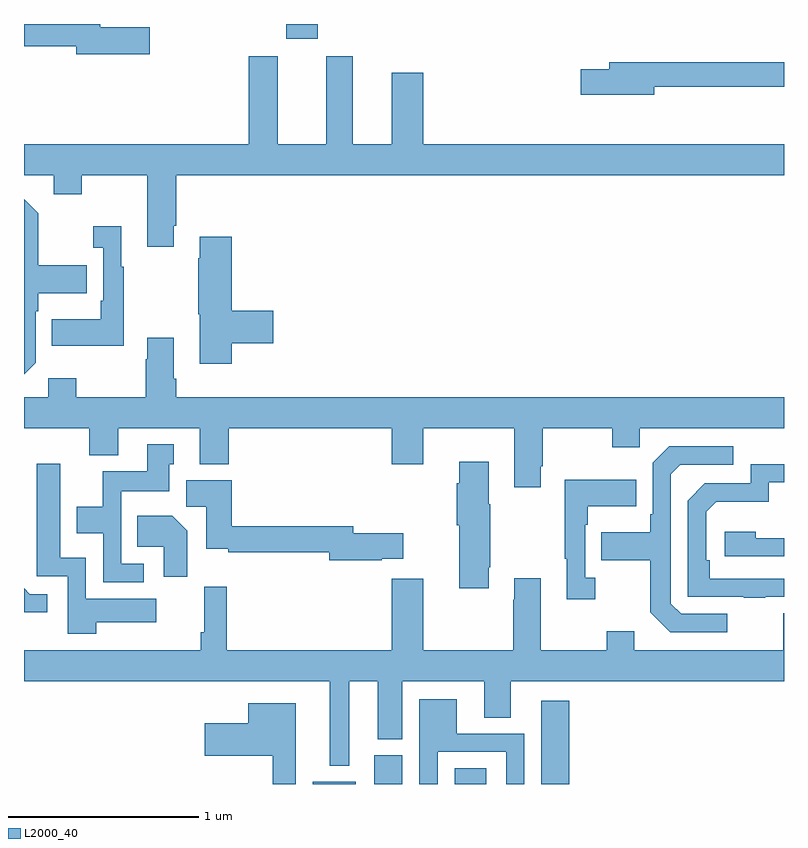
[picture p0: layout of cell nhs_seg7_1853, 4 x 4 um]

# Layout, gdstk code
import gdstk
lib = gdstk.Library(unit=1e-6, precision=1e-09)
def R(c, l, rs):  # rectangles x0, y0, x1, y1
    for r in rs: c.add(gdstk.rectangle(r[:2], r[2:], *l))
def P(c, l, *ps):  # polygons
    for p in ps: c.add(gdstk.Polygon(p, *l))
L2000_40 = (2000, 40)

nhs_seg7_1853 = lib.new_cell('nhs_seg7_1853')
R(nhs_seg7_1853, L2000_40, [(236.519,1076,236.746,1076.011), (236.843,1076,236.992,1076.151), (237.266,1076,237.433,1076.084), (237.722,1076,237.869,1076.437), (236.381,1079.922,236.545,1080)])
P(nhs_seg7_1853, L2000_40, [(235.663,1079.984),(235.402,1079.984),(235.402,1080),(235,1080),(235,1079.884),(235.274,1079.884),(235.274,1079.842),(235.663,1079.842)],
  [(235.789,1078.939),(235.802,1078.939),(235.802,1079.204),(239,1079.204),(239,1079.368),(237.1,1079.368),(237.1,1079.743),(236.936,1079.743),(236.936,1079.368),(236.731,1079.368),(236.731,1079.83),(236.591,1079.83),(236.591,1079.368),(236.335,1079.368),(236.335,1079.83),(236.183,1079.83),(236.183,1079.368),(235,1079.368),(235,1079.204),(235.157,1079.204),(235.157,1079.105),(235.305,1079.105),(235.305,1079.204),(235.649,1079.204),(235.649,1078.827),(235.789,1078.827)],
  [(238.318,1079.67),(239,1079.67),(239,1079.798),(238.079,1079.798),(238.079,1079.762),(237.93,1079.762),(237.93,1079.627),(238.318,1079.627)],
  [(235.062,1078.218),(235.062,1078.487),(235.075,1078.487),(235.075,1078.583),(235.331,1078.583),(235.331,1078.731),(235.075,1078.731),(235.075,1079.003),(235,1079.078),(235,1078.156)],
  [(235.525,1078.723),(235.513,1078.723),(235.513,1078.936),(235.365,1078.936),(235.365,1078.823),(235.416,1078.823),(235.416,1078.543),(235.404,1078.543),(235.404,1078.447),(235.147,1078.447),(235.147,1078.307),(235.525,1078.307)],
  [(236.093,1078.319),(236.311,1078.319),(236.311,1078.49),(236.093,1078.49),(236.093,1078.879),(235.925,1078.879),(235.925,1078.766),(235.918,1078.766),(235.918,1078.473),(235.925,1078.473),(235.925,1078.212),(236.093,1078.212)],
  [(235.802,1078.132),(235.789,1078.132),(235.789,1078.348),(235.649,1078.348),(235.649,1078.235),(235.642,1078.235),(235.642,1078.036),(235.275,1078.036),(235.275,1078.135),(235.128,1078.135),(235.128,1078.036),(235,1078.036),(235,1077.872),(235.343,1077.872),(235.343,1077.731),(235.495,1077.731),(235.495,1077.872),(235.925,1077.872),(235.925,1077.683),(236.078,1077.683),(236.078,1077.872),(236.936,1077.872),(236.936,1077.684),(237.1,1077.684),(237.1,1077.872),(237.581,1077.872),(237.581,1077.561),(237.721,1077.561),(237.721,1077.673),(237.729,1077.673),(237.729,1077.872),(238.096,1077.872),(238.096,1077.773),(238.242,1077.773),(238.242,1077.872),(239,1077.872),(239,1078.036),(235.802,1078.036)],
  [(235.63,1077.159),(235.512,1077.159),(235.512,1077.542),(235.765,1077.542),(235.765,1077.684),(235.789,1077.684),(235.789,1077.787),(235.649,1077.787),(235.649,1077.646),(235.414,1077.646),(235.414,1077.46),(235.277,1077.46),(235.277,1077.32),(235.416,1077.32),(235.416,1077.063),(235.63,1077.063)],
  [(238.702,1076.895),(238.458,1076.895),(238.404,1076.949),(238.404,1077.63),(238.455,1077.681),(238.732,1077.681),(238.732,1077.777),(238.395,1077.777),(238.308,1077.69),(238.308,1077.421),(238.296,1077.421),(238.296,1077.325),(238.039,1077.325),(238.039,1077.178),(238.296,1077.178),(238.296,1076.905),(238.401,1076.799),(238.702,1076.799)],
  [(237.445,1077.142),(237.453,1077.142),(237.453,1077.473),(237.445,1077.473),(237.445,1077.697),(237.29,1077.697),(237.29,1077.584),(237.278,1077.584),(237.278,1077.363),(237.29,1077.363),(237.29,1077.03),(237.445,1077.03)],
  [(235.379,1076.852),(235.696,1076.852),(235.696,1076.974),(235.326,1076.974),(235.326,1077.19),(235.192,1077.19),(235.192,1077.685),(235.067,1077.685),(235.067,1077.093),(235.23,1077.093),(235.23,1076.79),(235.379,1076.79)],
  [(238.901,1076.985),(239,1076.985),(239,1077.081),(238.61,1077.081),(238.61,1077.178),(238.59,1077.178),(238.59,1077.432),(238.643,1077.485),(238.92,1077.485),(238.92,1077.588),(239,1077.588),(239,1077.684),(238.824,1077.684),(238.824,1077.582),(238.584,1077.582),(238.494,1077.492),(238.494,1076.985),(238.789,1076.985),(238.789,1076.98),(238.901,1076.98)],
  [(238.006,1077.086),(237.954,1077.086),(237.954,1077.365),(237.967,1077.365),(237.967,1077.461),(238.223,1077.461),(238.223,1077.601),(237.846,1077.601),(237.846,1077.185),(237.857,1077.185),(237.857,1076.973),(238.006,1076.973)],
  [(236.882,1077.185),(236.995,1077.185),(236.995,1077.32),(236.734,1077.32),(236.734,1077.356),(236.093,1077.356),(236.093,1077.598),(235.853,1077.598),(235.853,1077.46),(235.958,1077.46),(235.958,1077.239),(236.074,1077.239),(236.074,1077.22),(236.606,1077.22),(236.606,1077.178),(236.882,1077.178)],
  [(235.858,1077.334),(235.78,1077.412),(235.597,1077.412),(235.597,1077.248),(235.736,1077.248),(235.736,1077.09),(235.858,1077.09)],
  [(239,1077.294),(238.85,1077.294),(238.85,1077.328),(238.689,1077.328),(238.689,1077.198),(239,1077.198)],
  [(236.713,1076.54),(236.861,1076.54),(236.861,1076.236),(236.992,1076.236),(236.992,1076.54),(237.422,1076.54),(237.422,1076.35),(237.562,1076.35),(237.562,1076.54),(239,1076.54),(239,1076.899),(238.997,1076.899),(238.997,1076.704),(238.213,1076.704),(238.213,1076.803),(238.066,1076.803),(238.066,1076.704),(237.721,1076.704),(237.721,1077.082),(237.581,1077.082),(237.581,1076.969),(237.574,1076.969),(237.574,1076.704),(237.1,1076.704),(237.1,1077.079),(236.936,1077.079),(236.936,1076.704),(236.066,1076.704),(236.066,1077.037),(235.948,1077.037),(235.948,1076.8),(235.93,1076.8),(235.93,1076.704),(235,1076.704),(235,1076.54),(236.609,1076.54),(236.609,1076.096),(236.713,1076.096)],
  [(235.123,1077),(235.029,1077),(235,1077.029),(235,1076.903),(235.123,1076.903)],
  [(237.177,1076.169),(237.537,1076.169),(237.537,1076),(237.633,1076),(237.633,1076.265),(237.277,1076.265),(237.277,1076.446),(237.081,1076.446),(237.081,1076),(237.177,1076)],
  [(236.431,1076.425),(236.18,1076.425),(236.18,1076.32),(235.95,1076.32),(235.95,1076.15),(236.31,1076.15),(236.31,1076),(236.431,1076)])

lib.write_gds('nhs_seg7_1853.gds')
